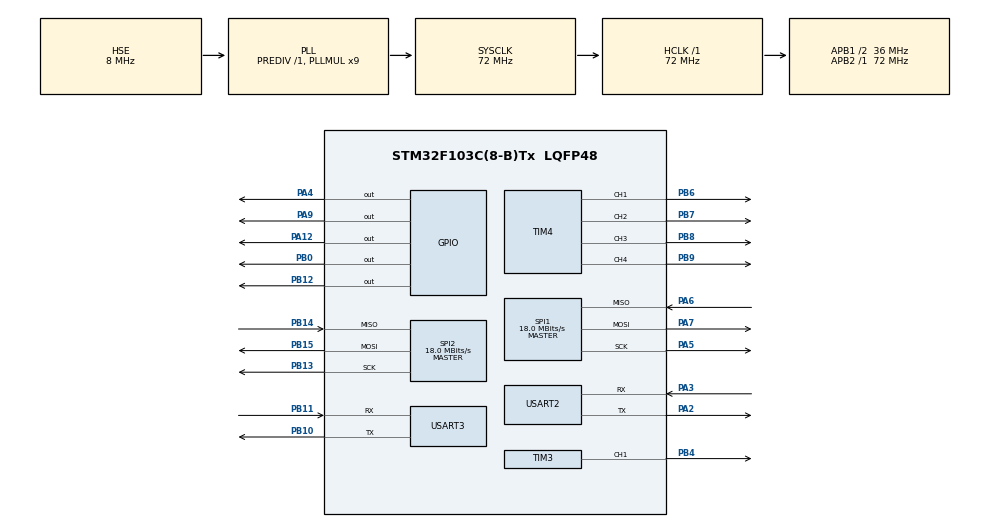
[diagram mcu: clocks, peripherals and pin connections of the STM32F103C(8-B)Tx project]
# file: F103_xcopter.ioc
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Mcu.Family=STM32F1
Mcu.Name=STM32F103C(8-B)Tx
Mcu.Package=LQFP48
NVIC.PriorityGroup=NVIC_PRIORITYGROUP_4
NVIC.TIM2_IRQn=true\:0\:0\:false\:false\:true\:true\:true
PA12.Signal=GPIO_Output
PA13.Mode=Serial_Wire
PA13.Signal=SYS_JTMS-SWDIO
PA14.Mode=Serial_Wire
PA14.Signal=SYS_JTCK-SWCLK
PA2.Mode=Asynchronous
PA2.Signal=USART2_TX
PA3.Mode=Asynchronous
PA3.Signal=USART2_RX
PA4.Signal=GPIO_Output
PA5.Mode=Full_Duplex_Master
PA5.Signal=SPI1_SCK
PA6.Mode=Full_Duplex_Master
PA6.Signal=SPI1_MISO
PA7.Mode=Full_Duplex_Master
PA7.Signal=SPI1_MOSI
PA9.Signal=GPIO_Output
PB0.Signal=GPIO_Output
PB10.Mode=Asynchronous
PB10.Signal=USART3_TX
PB11.Mode=Asynchronous
PB11.Signal=USART3_RX
PB12.Signal=GPIO_Output
PB13.Mode=Full_Duplex_Master
PB13.Signal=SPI2_SCK
PB14.Mode=Full_Duplex_Master
PB14.Signal=SPI2_MISO
PB15.Mode=Full_Duplex_Master
PB15.Signal=SPI2_MOSI
PB4.Signal=S_TIM3_CH1
PB6.Signal=S_TIM4_CH1
PB7.Signal=S_TIM4_CH2
PB8.Signal=S_TIM4_CH3
PB9.Signal=S_TIM4_CH4
PD0-OSC_IN.Mode=HSE-External-Oscillator
PD0-OSC_IN.Signal=RCC_OSC_IN
PD1-OSC_OUT.Mode=HSE-External-Oscillator
PD1-OSC_OUT.Signal=RCC_OSC_OUT
ProjectManager.HeapSize=0x200
ProjectManager.StackSize=0x400
ProjectManager.TargetToolchain=STM32CubeIDE
RCC.AHBFreq_Value=72000000
RCC.APB1CLKDivider=RCC_HCLK_DIV2
RCC.APB1Freq_Value=36000000
RCC.APB1TimFreq_Value=72000000
RCC.APB2Freq_Value=72000000
RCC.APB2TimFreq_Value=72000000
RCC.HCLKFreq_Value=72000000
RCC.PLLMUL=RCC_PLL_MUL9
RCC.PLLSourceVirtual=RCC_PLLSOURCE_HSE
RCC.SYSCLKFreq_VALUE=72000000
RCC.SYSCLKSource=RCC_SYSCLKSOURCE_PLLCLK
RCC.USBFreq_Value=72000000
SH.S_TIM3_CH1.0=TIM3_CH1,PWM Generation1 CH1
SH.S_TIM4_CH1.0=TIM4_CH1,PWM Generation1 CH1
SH.S_TIM4_CH2.0=TIM4_CH2,PWM Generation2 CH2
SH.S_TIM4_CH3.0=TIM4_CH3,PWM Generation3 CH3
SH.S_TIM4_CH4.0=TIM4_CH4,PWM Generation4 CH4
SPI1.BaudRatePrescaler=SPI_BAUDRATEPRESCALER_4
SPI1.CalculateBaudRate=18.0 MBits/s
SPI1.Direction=SPI_DIRECTION_2LINES
SPI1.Mode=SPI_MODE_MASTER
SPI1.VirtualType=VM_MASTER
SPI2.BaudRatePrescaler=SPI_BAUDRATEPRESCALER_2
SPI2.CalculateBaudRate=18.0 MBits/s
SPI2.Direction=SPI_DIRECTION_2LINES
SPI2.Mode=SPI_MODE_MASTER
SPI2.VirtualType=VM_MASTER
TIM2.Period=2000-1
TIM2.Prescaler=36000-1
TIM2.TIM_MasterOutputTrigger=TIM_TRGO_UPDATE
TIM3.Channel-PWM\ Generation1\ CH1=TIM_CHANNEL_1
TIM3.Period=1900-1
TIM3.Prescaler=720-1
TIM4.Channel-PWM\ Generation1\ CH1=TIM_CHANNEL_1
TIM4.Channel-PWM\ Generation2\ CH2=TIM_CHANNEL_2
TIM4.Channel-PWM\ Generation3\ CH3=TIM_CHANNEL_3
TIM4.Channel-PWM\ Generation4\ CH4=TIM_CHANNEL_4
USART2.VirtualMode=VM_ASYNC
USART3.VirtualMode=VM_ASYNC
VP_TIM2_VS_ClockSourceINT.Mode=Internal
board=custom

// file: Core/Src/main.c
/* USER CODE BEGIN Header */
/**
  ******************************************************************************
  * @file           : main.c
  * @brief          : Main program body
  ******************************************************************************
  * @attention
  *
  * <h2><center>&copy; Copyright (c) 2020 STMicroelectronics.
  * All rights reserved.</center></h2>
  *
  * This software component is licensed by ST under BSD 3-Clause license,
  * the "License"; You may not use this file except in compliance with the
  * License. You may obtain a copy of the License at:
  *                        opensource.org/licenses/BSD-3-Clause
  *
  ******************************************************************************
  */
/* USER CODE END Header */

#include "main.h"

/* USER CODE BEGIN Includes */
#include "radio_comm.h"
#include "trace_buffer.h"
#include "settings.h"
/* USER CODE END Includes */

SPI_HandleTypeDef hspi1;
SPI_HandleTypeDef hspi2;

TIM_HandleTypeDef htim2;
TIM_HandleTypeDef htim3;
TIM_HandleTypeDef htim4;

UART_HandleTypeDef huart2;
UART_HandleTypeDef huart3;

/* USER CODE BEGIN PV */
uint32_t counter = 0;
/* USER CODE END PV */

void SystemClock_Config(void);
static void MX_GPIO_Init(void);
static void MX_USART2_UART_Init(void);
static void MX_USART3_UART_Init(void);
static void MX_SPI1_Init(void);
static void MX_SPI2_Init(void);
static void MX_TIM3_Init(void);
static void MX_TIM4_Init(void);
static void MX_TIM2_Init(void);

int main(void)
{

  /* MCU Configuration--------------------------------------------------------*/

  /* Reset of all peripherals, Initializes the Flash interface and the Systick. */
  HAL_Init();

  /* Configure the system clock */
  SystemClock_Config();

  /* Initialize all configured peripherals */
  MX_GPIO_Init();
  MX_USART2_UART_Init();
  MX_USART3_UART_Init();
  MX_SPI1_Init();
  MX_SPI2_Init();
  MX_TIM3_Init();
  MX_TIM4_Init();
  MX_TIM2_Init();
  /* USER CODE BEGIN 2 */

  HAL_TIM_Base_Start_IT(&htim2);

  SpiPort port = {0};
  port.hspi = &hspi1;
  port.CE_PORT = GPIOB;
  port.CE_PIN = GPIO_PIN_0;
  port.CSN_PORT = GPIOA;
  port.CSN_PIN = GPIO_PIN_4;

  radio_comm_init(&port);

  RadioFrame rf = {0};
  RFM70_SwitchToRxMode();

  HAL_TIM_PWM_Start(&htim3, TIM_CHANNEL_1);
  HAL_TIM_PWM_Start(&htim4, TIM_CHANNEL_1);

  /* USER CODE END 2 */

  /* Infinite loop */
  while (1)
  {

    /* USER CODE BEGIN 3 */
	  radio_comm_recv_frame(&rf);

	  if(rf.len == sizeof(RadioFrame) && rf.header == 'x'){
		  counter++;
		  //if(counter % 10 == 0){
			  printf("h=%c, d[0]=%d d[1]=%d d[2]=%d d[3]=%d footer srooter pararupter\n",
				  rf.header,
				  rf.payload[0],
				  rf.payload[1],
				  rf.payload[2],
				  rf.payload[3]);

			  int valEngine = (rf.payload[0] >> 2);
			  __HAL_TIM_SET_COMPARE(&htim3, TIM_CHANNEL_1, valEngine);

			  int valSteering1 = (rf.payload[1] >> 2);
			  __HAL_TIM_SET_COMPARE(&htim4, TIM_CHANNEL_1, valSteering1);
		  //}
	  }
  }
  /* USER CODE END 3 */
}

void SystemClock_Config(void)
{
  RCC_OscInitTypeDef RCC_OscInitStruct = {0};
  RCC_ClkInitTypeDef RCC_ClkInitStruct = {0};

  /** Initializes the CPU, AHB and APB busses clocks
  */
  RCC_OscInitStruct.OscillatorType = RCC_OSCILLATORTYPE_HSE;
  RCC_OscInitStruct.HSEState = RCC_HSE_ON;
  RCC_OscInitStruct.HSEPredivValue = RCC_HSE_PREDIV_DIV1;
  RCC_OscInitStruct.HSIState = RCC_HSI_ON;
  RCC_OscInitStruct.PLL.PLLState = RCC_PLL_ON;
  RCC_OscInitStruct.PLL.PLLSource = RCC_PLLSOURCE_HSE;
  RCC_OscInitStruct.PLL.PLLMUL = RCC_PLL_MUL9;
  if (HAL_RCC_OscConfig(&RCC_OscInitStruct) != HAL_OK)
  {
    Error_Handler();
  }
  /** Initializes the CPU, AHB and APB busses clocks
  */
  RCC_ClkInitStruct.ClockType = RCC_CLOCKTYPE_HCLK|RCC_CLOCKTYPE_SYSCLK
                              |RCC_CLOCKTYPE_PCLK1|RCC_CLOCKTYPE_PCLK2;
  RCC_ClkInitStruct.SYSCLKSource = RCC_SYSCLKSOURCE_PLLCLK;
  RCC_ClkInitStruct.AHBCLKDivider = RCC_SYSCLK_DIV1;
  RCC_ClkInitStruct.APB1CLKDivider = RCC_HCLK_DIV2;
  RCC_ClkInitStruct.APB2CLKDivider = RCC_HCLK_DIV1;

  if (HAL_RCC_ClockConfig(&RCC_ClkInitStruct, FLASH_LATENCY_2) != HAL_OK)
  {
    Error_Handler();
  }
}

static void MX_SPI1_Init(void)
{

  /* SPI1 parameter configuration*/
  hspi1.Instance = SPI1;
  hspi1.Init.Mode = SPI_MODE_MASTER;
  hspi1.Init.Direction = SPI_DIRECTION_2LINES;
  hspi1.Init.DataSize = SPI_DATASIZE_8BIT;
  hspi1.Init.CLKPolarity = SPI_POLARITY_LOW;
  hspi1.Init.CLKPhase = SPI_PHASE_1EDGE;
  hspi1.Init.NSS = SPI_NSS_SOFT;
  hspi1.Init.BaudRatePrescaler = SPI_BAUDRATEPRESCALER_4;
  hspi1.Init.FirstBit = SPI_FIRSTBIT_MSB;
  hspi1.Init.TIMode = SPI_TIMODE_DISABLE;
  hspi1.Init.CRCCalculation = SPI_CRCCALCULATION_DISABLE;
  hspi1.Init.CRCPolynomial = 10;
  if (HAL_SPI_Init(&hspi1) != HAL_OK)
  {
    Error_Handler();
  }

}

static void MX_SPI2_Init(void)
{

  /* SPI2 parameter configuration*/
  hspi2.Instance = SPI2;
  hspi2.Init.Mode = SPI_MODE_MASTER;
  hspi2.Init.Direction = SPI_DIRECTION_2LINES;
  hspi2.Init.DataSize = SPI_DATASIZE_8BIT;
  hspi2.Init.CLKPolarity = SPI_POLARITY_LOW;
  hspi2.Init.CLKPhase = SPI_PHASE_1EDGE;
  hspi2.Init.NSS = SPI_NSS_SOFT;
  hspi2.Init.BaudRatePrescaler = SPI_BAUDRATEPRESCALER_2;
  hspi2.Init.FirstBit = SPI_FIRSTBIT_MSB;
  hspi2.Init.TIMode = SPI_TIMODE_DISABLE;
  hspi2.Init.CRCCalculation = SPI_CRCCALCULATION_DISABLE;
  hspi2.Init.CRCPolynomial = 10;
  if (HAL_SPI_Init(&hspi2) != HAL_OK)
  {
    Error_Handler();
  }

}

static void MX_TIM2_Init(void)
{

  TIM_ClockConfigTypeDef sClockSourceConfig = {0};
  TIM_MasterConfigTypeDef sMasterConfig = {0};

  htim2.Instance = TIM2;
  htim2.Init.Prescaler = 36000-1;
  htim2.Init.CounterMode = TIM_COUNTERMODE_UP;
  htim2.Init.Period = 2000-1;
  htim2.Init.ClockDivision = TIM_CLOCKDIVISION_DIV1;
  htim2.Init.AutoReloadPreload = TIM_AUTORELOAD_PRELOAD_DISABLE;
  if (HAL_TIM_Base_Init(&htim2) != HAL_OK)
  {
    Error_Handler();
  }
  sClockSourceConfig.ClockSource = TIM_CLOCKSOURCE_INTERNAL;
  if (HAL_TIM_ConfigClockSource(&htim2, &sClockSourceConfig) != HAL_OK)
  {
    Error_Handler();
  }
  sMasterConfig.MasterOutputTrigger = TIM_TRGO_UPDATE;
  sMasterConfig.MasterSlaveMode = TIM_MASTERSLAVEMODE_DISABLE;
  if (HAL_TIMEx_MasterConfigSynchronization(&htim2, &sMasterConfig) != HAL_OK)
  {
    Error_Handler();
  }

}

static void MX_TIM3_Init(void)
{

  TIM_MasterConfigTypeDef sMasterConfig = {0};
  TIM_OC_InitTypeDef sConfigOC = {0};

  htim3.Instance = TIM3;
  htim3.Init.Prescaler = 720-1;
  htim3.Init.CounterMode = TIM_COUNTERMODE_UP;
  htim3.Init.Period = 1900-1;
  htim3.Init.ClockDivision = TIM_CLOCKDIVISION_DIV1;
  htim3.Init.AutoReloadPreload = TIM_AUTORELOAD_PRELOAD_DISABLE;
  if (HAL_TIM_PWM_Init(&htim3) != HAL_OK)
  {
    Error_Handler();
  }
  sMasterConfig.MasterOutputTrigger = TIM_TRGO_RESET;
  sMasterConfig.MasterSlaveMode = TIM_MASTERSLAVEMODE_DISABLE;
  if (HAL_TIMEx_MasterConfigSynchronization(&htim3, &sMasterConfig) != HAL_OK)
  {
    Error_Handler();
  }
  sConfigOC.OCMode = TIM_OCMODE_PWM1;
  sConfigOC.Pulse = 0;
  sConfigOC.OCPolarity = TIM_OCPOLARITY_HIGH;
  sConfigOC.OCFastMode = TIM_OCFAST_DISABLE;
  if (HAL_TIM_PWM_ConfigChannel(&htim3, &sConfigOC, TIM_CHANNEL_1) != HAL_OK)
  {
    Error_Handler();
  }
  HAL_TIM_MspPostInit(&htim3);

}

static void MX_TIM4_Init(void)
{

  TIM_MasterConfigTypeDef sMasterConfig = {0};
  TIM_OC_InitTypeDef sConfigOC = {0};

  htim4.Instance = TIM4;
  htim4.Init.Prescaler = 0;
  htim4.Init.CounterMode = TIM_COUNTERMODE_UP;
  htim4.Init.Period = 0;
  htim4.Init.ClockDivision = TIM_CLOCKDIVISION_DIV1;
  htim4.Init.AutoReloadPreload = TIM_AUTORELOAD_PRELOAD_DISABLE;
  if (HAL_TIM_PWM_Init(&htim4) != HAL_OK)
  {
    Error_Handler();
  }
  sMasterConfig.MasterOutputTrigger = TIM_TRGO_RESET;
  sMasterConfig.MasterSlaveMode = TIM_MASTERSLAVEMODE_DISABLE;
  if (HAL_TIMEx_MasterConfigSynchronization(&htim4, &sMasterConfig) != HAL_OK)
  {
    Error_Handler();
  }
  sConfigOC.OCMode = TIM_OCMODE_PWM1;
  sConfigOC.Pulse = 0;
  sConfigOC.OCPolarity = TIM_OCPOLARITY_HIGH;
  sConfigOC.OCFastMode = TIM_OCFAST_DISABLE;
  if (HAL_TIM_PWM_ConfigChannel(&htim4, &sConfigOC, TIM_CHANNEL_1) != HAL_OK)
  {
    Error_Handler();
  }
  if (HAL_TIM_PWM_ConfigChannel(&htim4, &sConfigOC, TIM_CHANNEL_2) != HAL_OK)
  {
    Error_Handler();
  }
  if (HAL_TIM_PWM_ConfigChannel(&htim4, &sConfigOC, TIM_CHANNEL_3) != HAL_OK)
  {
    Error_Handler();
  }
  if (HAL_TIM_PWM_ConfigChannel(&htim4, &sConfigOC, TIM_CHANNEL_4) != HAL_OK)
  {
    Error_Handler();
  }
  HAL_TIM_MspPostInit(&htim4);

}

static void MX_USART2_UART_Init(void)
{

  huart2.Instance = USART2;
  huart2.Init.BaudRate = 115200;
  huart2.Init.WordLength = UART_WORDLENGTH_8B;
  huart2.Init.StopBits = UART_STOPBITS_1;
  huart2.Init.Parity = UART_PARITY_NONE;
  huart2.Init.Mode = UART_MODE_TX_RX;
  huart2.Init.HwFlowCtl = UART_HWCONTROL_NONE;
  huart2.Init.OverSampling = UART_OVERSAMPLING_16;
  if (HAL_UART_Init(&huart2) != HAL_OK)
  {
    Error_Handler();
  }

}

static void MX_USART3_UART_Init(void)
{

  huart3.Instance = USART3;
  huart3.Init.BaudRate = 115200;
  huart3.Init.WordLength = UART_WORDLENGTH_8B;
  huart3.Init.StopBits = UART_STOPBITS_1;
  huart3.Init.Parity = UART_PARITY_NONE;
  huart3.Init.Mode = UART_MODE_TX_RX;
  huart3.Init.HwFlowCtl = UART_HWCONTROL_NONE;
  huart3.Init.OverSampling = UART_OVERSAMPLING_16;
  if (HAL_UART_Init(&huart3) != HAL_OK)
  {
    Error_Handler();
  }

}

static void MX_GPIO_Init(void)
{
  GPIO_InitTypeDef GPIO_InitStruct = {0};

  /* GPIO Ports Clock Enable */
  __HAL_RCC_GPIOD_CLK_ENABLE();
  __HAL_RCC_GPIOA_CLK_ENABLE();
  __HAL_RCC_GPIOB_CLK_ENABLE();

  /*Configure GPIO pin Output Level */
  HAL_GPIO_WritePin(GPIOA, GPIO_PIN_4|GPIO_PIN_9|GPIO_PIN_12, GPIO_PIN_RESET);

  /*Configure GPIO pin Output Level */
  HAL_GPIO_WritePin(GPIOB, GPIO_PIN_0|GPIO_PIN_12, GPIO_PIN_RESET);

  /*Configure GPIO pins : PA4 PA9 PA12 */
  GPIO_InitStruct.Pin = GPIO_PIN_4|GPIO_PIN_9|GPIO_PIN_12;
  GPIO_InitStruct.Mode = GPIO_MODE_OUTPUT_PP;
  GPIO_InitStruct.Pull = GPIO_NOPULL;
  GPIO_InitStruct.Speed = GPIO_SPEED_FREQ_LOW;
  HAL_GPIO_Init(GPIOA, &GPIO_InitStruct);

  /*Configure GPIO pins : PB0 PB12 */
  GPIO_InitStruct.Pin = GPIO_PIN_0|GPIO_PIN_12;
  GPIO_InitStruct.Mode = GPIO_MODE_OUTPUT_PP;
  GPIO_InitStruct.Pull = GPIO_NOPULL;
  GPIO_InitStruct.Speed = GPIO_SPEED_FREQ_LOW;
  HAL_GPIO_Init(GPIOB, &GPIO_InitStruct);

}

/* USER CODE BEGIN 4 */
__attribute__((weak)) int _read(int file, char *ptr, int len)
{
	//int DataIdx;

//	for (DataIdx = 0; DataIdx < len; DataIdx++)
//	{
//		*ptr++ = __io_getchar();
//	}

return len;
}

__attribute__((weak)) int _write(int file, char *ptr, int len)
{
	if(radio_comm_get_trace_via_radio() == 1){
		if(!trace_buffer_lock()){
			trace_buffer_push(ptr, len);
			trace_buffer_unlock();
		} else {
			print("already locked\n");
		}
	} else {
		HAL_UART_Transmit(&huart2, ptr, len, HAL_MAX_DELAY);
	}
	return len;
}

__weak void HAL_TIM_PeriodElapsedCallback(TIM_HandleTypeDef *htim)
{
	printf("packet per second:%d\n", counter);
	counter = 0;
  /* Prevent unused argument(s) compilation warning */
  UNUSED(htim);

  /* NOTE : This function should not be modified, when the callback is needed,
            the HAL_TIM_PeriodElapsedCallback could be implemented in the user file
   */
}

void print(char* msg)
{
	HAL_UART_Transmit(&huart2, msg, strlen(msg), HAL_MAX_DELAY);
}
/* USER CODE END 4 */

void Error_Handler(void)
{
}

/************************ (C) COPYRIGHT STMicroelectronics *****END OF FILE****/
